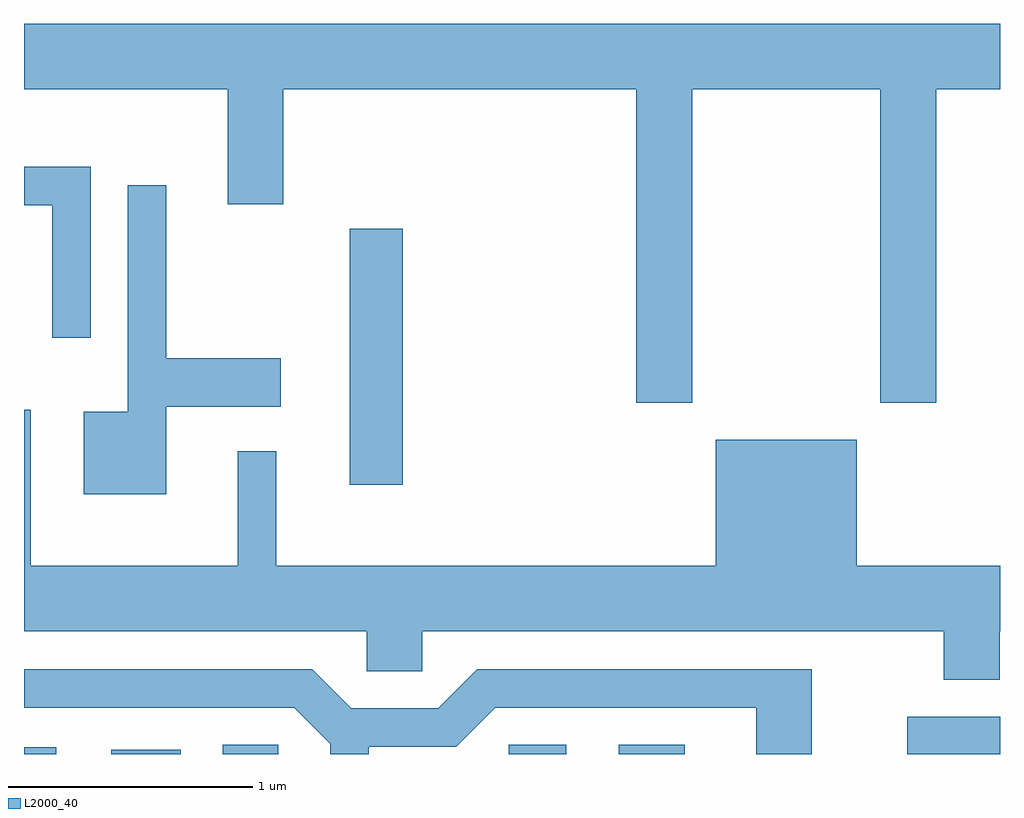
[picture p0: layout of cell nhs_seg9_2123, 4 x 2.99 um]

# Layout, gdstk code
import gdstk
lib = gdstk.Library(unit=1e-6, precision=1e-09)
def R(c, l, rs):  # rectangles x0, y0, x1, y1
    for r in rs: c.add(gdstk.rectangle(r[:2], r[2:], *l))
def P(c, l, *ps):  # polygons
    for p in ps: c.add(gdstk.Polygon(p, *l))
L2000_40 = (2000, 40)

nhs_seg9_2123 = lib.new_cell('nhs_seg9_2123')
R(nhs_seg9_2123, L2000_40, [(247.611,1982.432,247.744,1982.459), (247.968,1982.432,248.254,1982.449), (248.426,1982.432,248.654,1982.469), (249.598,1982.432,249.834,1982.469), (250.048,1982.432,250.319,1982.469), (251.231,1982.432,251.611,1982.584), (248.946,1983.536,249.164,1984.584)])
P(nhs_seg9_2123, L2000_40, [(250.349,1985.156),(251.121,1985.156),(251.121,1983.871),(251.349,1983.871),(251.349,1985.156),(251.611,1985.156),(251.611,1985.424),(247.611,1985.424),(247.611,1985.156),(248.446,1985.156),(248.446,1984.686),(248.674,1984.686),(248.674,1985.156),(250.121,1985.156),(250.121,1983.871),(250.349,1983.871)],
  [(247.884,1984.839),(247.611,1984.839),(247.611,1984.681),(247.726,1984.681),(247.726,1984.138),(247.884,1984.138)],
  [(248.194,1983.856),(248.664,1983.856),(248.664,1984.054),(248.194,1984.054),(248.194,1984.763),(248.036,1984.763),(248.036,1983.834),(247.856,1983.834),(247.856,1983.496),(248.194,1983.496)],
  [(251.609,1982.936),(251.611,1982.936),(251.611,1983.204),(251.024,1983.204),(251.024,1983.719),(250.446,1983.719),(250.446,1983.204),(248.644,1983.204),(248.644,1983.673),(248.486,1983.673),(248.486,1983.204),(247.639,1983.204),(247.639,1983.843),(247.611,1983.843),(247.611,1982.936),(249.016,1982.936),(249.016,1982.771),(249.244,1982.771),(249.244,1982.936),(251.381,1982.936),(251.381,1982.736),(251.609,1982.736)],
  [(249.024,1982.461),(249.382,1982.461),(249.542,1982.621),(250.611,1982.621),(250.611,1982.432),(250.839,1982.432),(250.839,1982.779),(249.469,1982.779),(249.309,1982.619),(248.952,1982.619),(248.792,1982.779),(247.611,1982.779),(247.611,1982.621),(248.719,1982.621),(248.866,1982.474),(248.866,1982.432),(249.024,1982.432)])

lib.write_gds('nhs_seg9_2123.gds')
